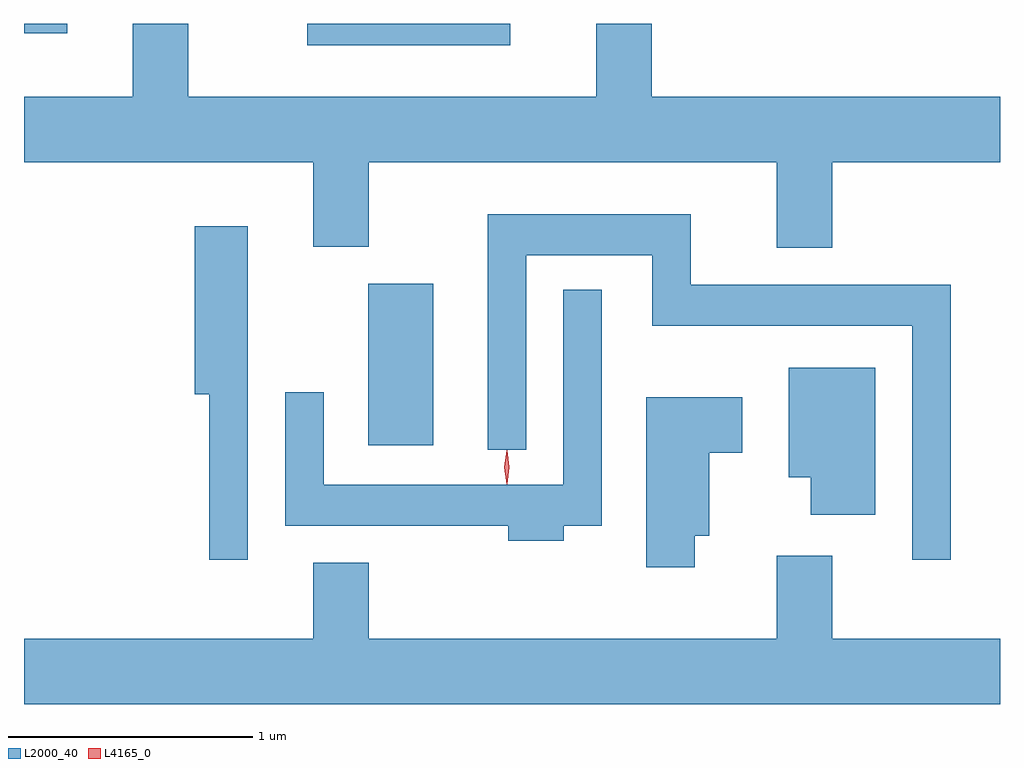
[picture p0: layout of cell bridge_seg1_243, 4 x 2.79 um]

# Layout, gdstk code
import gdstk
lib = gdstk.Library(unit=1e-6, precision=1e-09)
def R(c, l, rs):  # rectangles x0, y0, x1, y1
    for r in rs: c.add(gdstk.rectangle(r[:2], r[2:], *l))
def P(c, l, *ps):  # polygons
    for p in ps: c.add(gdstk.Polygon(p, *l))
L2000_40 = (2000, 40)
L4165_0 = (4165, 0)

bridge_seg1_243 = lib.new_cell('bridge_seg1_243')
R(bridge_seg1_243, L2000_40, [(836.866,896.196,837.134,896.859), (836.616,897.836,837.449,897.923), (835.456,897.886,835.634,897.923)])
P(bridge_seg1_243, L2000_40, [(838.769,897.356),(839.456,897.356),(839.456,897.624),(838.029,897.624),(838.029,897.923),(837.801,897.923),(837.801,897.624),(836.129,897.624),(836.129,897.923),(835.901,897.923),(835.901,897.624),(835.456,897.624),(835.456,897.356),(836.641,897.356),(836.641,897.011),(836.869,897.011),(836.869,897.356),(838.541,897.356),(838.541,897.006),(838.769,897.006)],
  [(839.254,896.854),(838.189,896.854),(838.189,897.144),(837.356,897.144),(837.356,896.178),(837.514,896.178),(837.514,896.976),(838.031,896.976),(838.031,896.686),(839.096,896.686),(839.096,895.728),(839.254,895.728)],
  [(836.374,897.094),(836.156,897.094),(836.156,896.406),(836.216,896.406),(836.216,895.728),(836.374,895.728)],
  [(837.669,895.866),(837.824,895.866),(837.824,896.833),(837.666,896.833),(837.666,896.034),(836.684,896.034),(836.684,896.413),(836.526,896.413),(836.526,895.866),(837.441,895.866),(837.441,895.806),(837.669,895.806)],
  [(838.944,896.514),(838.591,896.514),(838.591,896.066),(838.681,896.066),(838.681,895.911),(838.944,895.911)],
  [(838.204,895.826),(838.264,895.826),(838.264,896.166),(838.399,896.166),(838.399,896.394),(838.006,896.394),(838.006,895.696),(838.204,895.696)],
  [(839.456,895.404),(838.769,895.404),(838.769,895.744),(838.541,895.744),(838.541,895.404),(836.869,895.404),(836.869,895.714),(836.641,895.714),(836.641,895.404),(835.456,895.404),(835.456,895.136),(839.456,895.136)])
P(bridge_seg1_243, L4165_0, [(837.434,896.037),(837.425,896.106),(837.434,896.176),(837.435,896.176),(837.436,896.176),(837.445,896.106),(837.436,896.037),(837.435,896.037)],
  [(837.435,896.039),(837.434,896.04),(837.425,896.106),(837.434,896.172),(837.435,896.173),(837.435,896.172),(837.445,896.106),(837.435,896.04)])

lib.write_gds('bridge_seg1_243.gds')
